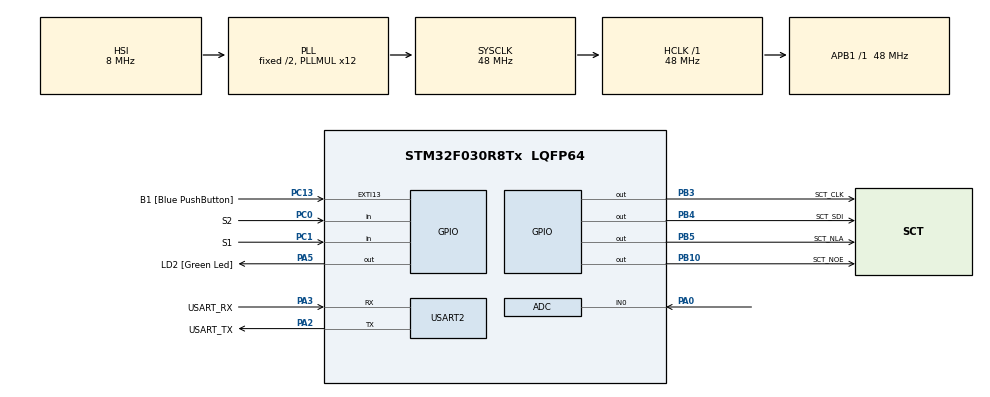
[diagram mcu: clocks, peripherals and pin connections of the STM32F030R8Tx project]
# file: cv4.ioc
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ADC.ContinuousConvMode=ENABLE
ADC.Overrun=ADC_OVR_DATA_OVERWRITTEN
ADC.SamplingTime=ADC_SAMPLETIME_239CYCLES_5
Mcu.Family=STM32F0
Mcu.Name=STM32F030R8Tx
Mcu.Package=LQFP64
NVIC.ADC1_IRQn=true\:0\:0\:false\:false\:true\:true\:true
PA0.Mode=IN0
PA0.Signal=ADC_IN0
PA13.GPIO_Label=TMS
PA13.Mode=Serial_Wire
PA13.Signal=SYS_SWDIO
PA14.GPIO_Label=TCK
PA14.Mode=Serial_Wire
PA14.Signal=SYS_SWCLK
PA2.GPIO_Label=USART_TX
PA2.GPIO_Mode=GPIO_MODE_AF_PP
PA2.GPIO_PuPd=GPIO_NOPULL
PA2.GPIO_Speed=GPIO_SPEED_FREQ_LOW
PA2.Mode=Asynchronous
PA2.Signal=USART2_TX
PA3.GPIO_Label=USART_RX
PA3.GPIO_Mode=GPIO_MODE_AF_PP
PA3.GPIO_PuPd=GPIO_NOPULL
PA3.GPIO_Speed=GPIO_SPEED_FREQ_LOW
PA3.Mode=Asynchronous
PA3.Signal=USART2_RX
PA5.GPIO_Label=LD2 [Green Led]
PA5.GPIO_Mode=GPIO_MODE_OUTPUT_PP
PA5.GPIO_PuPd=GPIO_NOPULL
PA5.GPIO_Speed=GPIO_SPEED_FREQ_LOW
PA5.Signal=GPIO_Output
PB10.GPIO_Label=SCT_NOE
PB10.Signal=GPIO_Output
PB3.GPIO_Label=SCT_CLK
PB3.Signal=GPIO_Output
PB4.GPIO_Label=SCT_SDI
PB4.Signal=GPIO_Output
PB5.GPIO_Label=SCT_NLA
PB5.Signal=GPIO_Output
PC0.GPIO_Label=S2
PC0.GPIO_PuPd=GPIO_PULLUP
PC0.Signal=GPIO_Input
PC1.GPIO_Label=S1
PC1.GPIO_PuPd=GPIO_PULLUP
PC1.Signal=GPIO_Input
PC13.GPIO_Label=B1 [Blue PushButton]
PC13.GPIO_ModeDefaultEXTI=GPIO_MODE_IT_FALLING
PC13.Signal=GPXTI13
PC14-OSC32_IN.Mode=LSE-External-Oscillator
PC14-OSC32_IN.Signal=RCC_OSC32_IN
PC15-OSC32_OUT.Mode=LSE-External-Oscillator
PC15-OSC32_OUT.Signal=RCC_OSC32_OUT
PF0-OSC_IN.Mode=HSE-External-Clock-Source
PF0-OSC_IN.Signal=RCC_OSC_IN
PF1-OSC_OUT.Signal=RCC_OSC_OUT
ProjectManager.HeapSize=0x200
ProjectManager.StackSize=0x400
ProjectManager.TargetToolchain=STM32CubeIDE
RCC.AHBFreq_Value=48000000
RCC.APB1Freq_Value=48000000
RCC.APB1TimFreq_Value=48000000
RCC.HCLKFreq_Value=48000000
RCC.PLLMUL=RCC_PLL_MUL12
RCC.SYSCLKFreq_VALUE=48000000
RCC.SYSCLKSource=RCC_SYSCLKSOURCE_PLLCLK
USART2.VirtualMode-Asynchronous=VM_ASYNC
VP_ADC_TempSens_Input.Mode=IN-TempSens
VP_ADC_Vref_Input.Mode=IN-Vrefint
board=NUCLEO-F030R8

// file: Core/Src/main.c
/* USER CODE BEGIN Header */
/**
  ******************************************************************************
  * @file           : main.c
  * @brief          : Main program body
  ******************************************************************************
  * @attention
  *
  * <h2><center>&copy; Copyright (c) 2021 STMicroelectronics.
  * All rights reserved.</center></h2>
  *
  * This software component is licensed by ST under BSD 3-Clause license,
  * the "License"; You may not use this file except in compliance with the
  * License. You may obtain a copy of the License at:
  *                        opensource.org/licenses/BSD-3-Clause
  *
  ******************************************************************************
  */
/* USER CODE END Header */
#include "main.h"

/* USER CODE BEGIN Includes */
#include "sct.h"

/* USER CODE END Includes */

ADC_HandleTypeDef hadc;

UART_HandleTypeDef huart2;

/* USER CODE BEGIN PV */
#define ADC_Q 14
#define TEMP110_CAL_ADDR ((uint16_t*) ((uint32_t) 0x1FFFF7C2))
#define TEMP30_CAL_ADDR ((uint16_t*) ((uint32_t) 0x1FFFF7B8))
#define VREFINT_CAL_ADDR ((uint16_t*) ((uint32_t) 0x1FFFF7BA))

/* USER CODE END PV */

void SystemClock_Config(void);
static void MX_GPIO_Init(void);
static void MX_USART2_UART_Init(void);
static void MX_ADC_Init(void);

/* USER CODE BEGIN 0 */
static volatile uint32_t raw_pot;

static volatile uint32_t avg_pot;
static volatile uint32_t raw_temp;
static volatile uint32_t raw_volt;

void HAL_ADC_ConvCpltCallback(ADC_HandleTypeDef* hadc)
{

	static uint8_t channel=0;

	if (channel==0)
	{
		raw_pot = avg_pot >> ADC_Q;
		avg_pot -= raw_pot;
		avg_pot += HAL_ADC_GetValue(hadc);
	}
	else if(channel==1)
	{
		raw_temp = HAL_ADC_GetValue(hadc);
	}
	else if(channel==2)
	{
		raw_volt = HAL_ADC_GetValue(hadc);
	}

	if (__HAL_ADC_GET_FLAG(hadc, ADC_FLAG_EOS)) channel = 0;
	else channel++;

}
/* USER CODE END 0 */

int main(void)
{

  /* MCU Configuration--------------------------------------------------------*/

  /* Reset of all peripherals, Initializes the Flash interface and the Systick. */
  HAL_Init();

  /* Configure the system clock */
  SystemClock_Config();

  /* Initialize all configured peripherals */
  MX_GPIO_Init();
  MX_USART2_UART_Init();
  MX_ADC_Init();
  /* USER CODE BEGIN 2 */

  sct_init();
  HAL_ADCEx_Calibration_Start(&hadc);
  HAL_ADC_Start_IT(&hadc);

  /* USER CODE END 2 */

  /* Infinite loop */
  while (1)
  {

    /* USER CODE BEGIN 3 */
	  uint32_t last;

	  uint32_t cislo=0;
	  uint8_t bargraf=0;

	  uint32_t voltage = 330 * (*VREFINT_CAL_ADDR) / raw_volt;

	  int32_t temperature = (raw_temp - (int32_t)(*TEMP30_CAL_ADDR));
	  temperature = temperature * (int32_t)(110 - 30);
	  temperature = temperature / (int32_t)(*TEMP110_CAL_ADDR - *TEMP30_CAL_ADDR);
	  temperature = temperature + 30;

	  cislo=(raw_pot*(500+1))/4095;
	  bargraf= raw_pot/(4095/8);

	  HAL_Delay(50);

	  static enum { SHOW_POT, SHOW_VOLT, SHOW_TEMP } state = SHOW_POT;

	  if(HAL_GPIO_ReadPin(S1_GPIO_Port,S1_Pin)==0)
	  {
		  last=HAL_GetTick();
		  state= SHOW_TEMP;
	  }
	  else if(HAL_GPIO_ReadPin(S2_GPIO_Port,S2_Pin)==0)
	  {
		  last=HAL_GetTick();
		  state= SHOW_VOLT;
	  }

	  if(state == SHOW_VOLT)
	  {
		  sct_value(voltage,bargraf);
	  }
	  else if(state == SHOW_TEMP)
	  {
		  sct_value(temperature,bargraf);
	  }
	  else if(state == SHOW_POT)
	  {
		  sct_value(cislo,bargraf);
	  }

	  if(HAL_GetTick()-last > 1000)
	  {
		  state=SHOW_POT;
	  }

  }
  /* USER CODE END 3 */
}

void SystemClock_Config(void)
{
  RCC_OscInitTypeDef RCC_OscInitStruct = {0};
  RCC_ClkInitTypeDef RCC_ClkInitStruct = {0};

  /** Initializes the RCC Oscillators according to the specified parameters
  * in the RCC_OscInitTypeDef structure.
  */
  RCC_OscInitStruct.OscillatorType = RCC_OSCILLATORTYPE_HSI|RCC_OSCILLATORTYPE_HSI14;
  RCC_OscInitStruct.HSIState = RCC_HSI_ON;
  RCC_OscInitStruct.HSI14State = RCC_HSI14_ON;
  RCC_OscInitStruct.HSICalibrationValue = RCC_HSICALIBRATION_DEFAULT;
  RCC_OscInitStruct.HSI14CalibrationValue = 16;
  RCC_OscInitStruct.PLL.PLLState = RCC_PLL_ON;
  RCC_OscInitStruct.PLL.PLLSource = RCC_PLLSOURCE_HSI;
  RCC_OscInitStruct.PLL.PLLMUL = RCC_PLL_MUL12;
  RCC_OscInitStruct.PLL.PREDIV = RCC_PREDIV_DIV1;
  if (HAL_RCC_OscConfig(&RCC_OscInitStruct) != HAL_OK)
  {
    Error_Handler();
  }
  /** Initializes the CPU, AHB and APB buses clocks
  */
  RCC_ClkInitStruct.ClockType = RCC_CLOCKTYPE_HCLK|RCC_CLOCKTYPE_SYSCLK
                              |RCC_CLOCKTYPE_PCLK1;
  RCC_ClkInitStruct.SYSCLKSource = RCC_SYSCLKSOURCE_PLLCLK;
  RCC_ClkInitStruct.AHBCLKDivider = RCC_SYSCLK_DIV1;
  RCC_ClkInitStruct.APB1CLKDivider = RCC_HCLK_DIV1;

  if (HAL_RCC_ClockConfig(&RCC_ClkInitStruct, FLASH_LATENCY_1) != HAL_OK)
  {
    Error_Handler();
  }
}

static void MX_ADC_Init(void)
{

  ADC_ChannelConfTypeDef sConfig = {0};

  /** Configure the global features of the ADC (Clock, Resolution, Data Alignment and number of conversion)
  */
  hadc.Instance = ADC1;
  hadc.Init.ClockPrescaler = ADC_CLOCK_ASYNC_DIV1;
  hadc.Init.Resolution = ADC_RESOLUTION_12B;
  hadc.Init.DataAlign = ADC_DATAALIGN_RIGHT;
  hadc.Init.ScanConvMode = ADC_SCAN_DIRECTION_FORWARD;
  hadc.Init.EOCSelection = ADC_EOC_SINGLE_CONV;
  hadc.Init.LowPowerAutoWait = DISABLE;
  hadc.Init.LowPowerAutoPowerOff = DISABLE;
  hadc.Init.ContinuousConvMode = ENABLE;
  hadc.Init.DiscontinuousConvMode = DISABLE;
  hadc.Init.ExternalTrigConv = ADC_SOFTWARE_START;
  hadc.Init.ExternalTrigConvEdge = ADC_EXTERNALTRIGCONVEDGE_NONE;
  hadc.Init.DMAContinuousRequests = DISABLE;
  hadc.Init.Overrun = ADC_OVR_DATA_OVERWRITTEN;
  if (HAL_ADC_Init(&hadc) != HAL_OK)
  {
    Error_Handler();
  }
  /** Configure for the selected ADC regular channel to be converted.
  */
  sConfig.Channel = ADC_CHANNEL_0;
  sConfig.Rank = ADC_RANK_CHANNEL_NUMBER;
  sConfig.SamplingTime = ADC_SAMPLETIME_239CYCLES_5;
  if (HAL_ADC_ConfigChannel(&hadc, &sConfig) != HAL_OK)
  {
    Error_Handler();
  }
  /** Configure for the selected ADC regular channel to be converted.
  */
  sConfig.Channel = ADC_CHANNEL_TEMPSENSOR;
  if (HAL_ADC_ConfigChannel(&hadc, &sConfig) != HAL_OK)
  {
    Error_Handler();
  }
  /** Configure for the selected ADC regular channel to be converted.
  */
  sConfig.Channel = ADC_CHANNEL_VREFINT;
  if (HAL_ADC_ConfigChannel(&hadc, &sConfig) != HAL_OK)
  {
    Error_Handler();
  }

}

static void MX_USART2_UART_Init(void)
{

  huart2.Instance = USART2;
  huart2.Init.BaudRate = 38400;
  huart2.Init.WordLength = UART_WORDLENGTH_8B;
  huart2.Init.StopBits = UART_STOPBITS_1;
  huart2.Init.Parity = UART_PARITY_NONE;
  huart2.Init.Mode = UART_MODE_TX_RX;
  huart2.Init.HwFlowCtl = UART_HWCONTROL_NONE;
  huart2.Init.OverSampling = UART_OVERSAMPLING_16;
  huart2.Init.OneBitSampling = UART_ONE_BIT_SAMPLE_DISABLE;
  huart2.AdvancedInit.AdvFeatureInit = UART_ADVFEATURE_NO_INIT;
  if (HAL_UART_Init(&huart2) != HAL_OK)
  {
    Error_Handler();
  }

}

static void MX_GPIO_Init(void)
{
  GPIO_InitTypeDef GPIO_InitStruct = {0};

  /* GPIO Ports Clock Enable */
  __HAL_RCC_GPIOC_CLK_ENABLE();
  __HAL_RCC_GPIOF_CLK_ENABLE();
  __HAL_RCC_GPIOA_CLK_ENABLE();
  __HAL_RCC_GPIOB_CLK_ENABLE();

  /*Configure GPIO pin Output Level */
  HAL_GPIO_WritePin(LD2_GPIO_Port, LD2_Pin, GPIO_PIN_RESET);

  /*Configure GPIO pin Output Level */
  HAL_GPIO_WritePin(GPIOB, SCT_NOE_Pin|SCT_CLK_Pin|SCT_SDI_Pin|SCT_NLA_Pin, GPIO_PIN_RESET);

  /*Configure GPIO pin : B1_Pin */
  GPIO_InitStruct.Pin = B1_Pin;
  GPIO_InitStruct.Mode = GPIO_MODE_IT_FALLING;
  GPIO_InitStruct.Pull = GPIO_NOPULL;
  HAL_GPIO_Init(B1_GPIO_Port, &GPIO_InitStruct);

  /*Configure GPIO pins : S2_Pin S1_Pin */
  GPIO_InitStruct.Pin = S2_Pin|S1_Pin;
  GPIO_InitStruct.Mode = GPIO_MODE_INPUT;
  GPIO_InitStruct.Pull = GPIO_PULLUP;
  HAL_GPIO_Init(GPIOC, &GPIO_InitStruct);

  /*Configure GPIO pin : LD2_Pin */
  GPIO_InitStruct.Pin = LD2_Pin;
  GPIO_InitStruct.Mode = GPIO_MODE_OUTPUT_PP;
  GPIO_InitStruct.Pull = GPIO_NOPULL;
  GPIO_InitStruct.Speed = GPIO_SPEED_FREQ_LOW;
  HAL_GPIO_Init(LD2_GPIO_Port, &GPIO_InitStruct);

  /*Configure GPIO pins : SCT_NOE_Pin SCT_CLK_Pin SCT_SDI_Pin SCT_NLA_Pin */
  GPIO_InitStruct.Pin = SCT_NOE_Pin|SCT_CLK_Pin|SCT_SDI_Pin|SCT_NLA_Pin;
  GPIO_InitStruct.Mode = GPIO_MODE_OUTPUT_PP;
  GPIO_InitStruct.Pull = GPIO_NOPULL;
  GPIO_InitStruct.Speed = GPIO_SPEED_FREQ_LOW;
  HAL_GPIO_Init(GPIOB, &GPIO_InitStruct);

}

void Error_Handler(void)
{
  __disable_irq();
  while (1)
  {
  }
}

/************************ (C) COPYRIGHT STMicroelectronics *****END OF FILE****/
